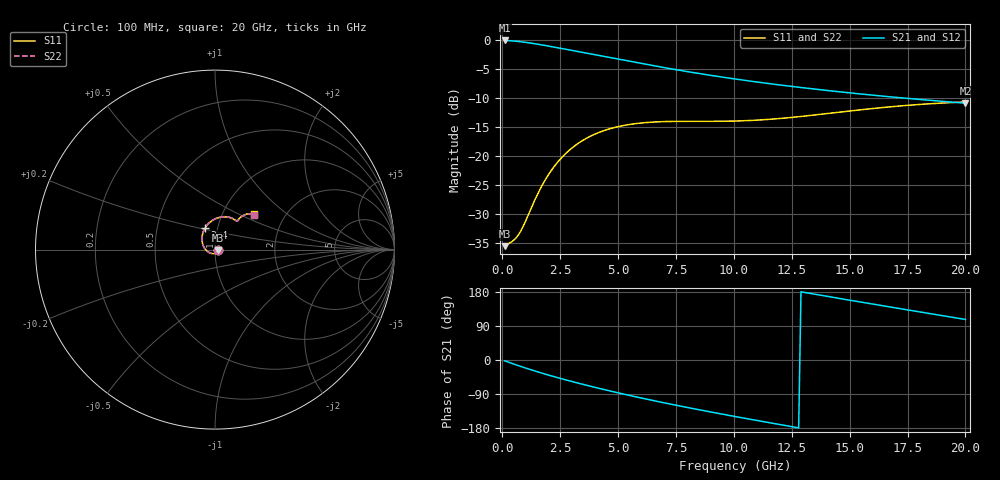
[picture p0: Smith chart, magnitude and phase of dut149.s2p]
! Touchstone file exported from HFSS 2023.1.0
!  File:  D:/Users/fzz/RDL_TSV/temp_RDL_TSV_149_1778752941.aedt
!  Generated:  6:12:56 %x4E0B%x5348  5%x6708 14, 2026
!  Design:  RDL_TSV
!  Project:  temp_RDL_TSV_149_1778752941
!  Setup:  Setup1
!  Solution:  Sweep
! Variables:
!  dtsv = 12.26um
!  hbump = 3um
!  htsv = 92.99um
!  ldown = 676.91um
!  lrdl = 369.45um
!  p = 40
!  p1 = 42.11um
!  rhole = 10um
!  subl = 3508.53um
!  t = 450um
!  tdown = 4.66um
!  trdl = 2.91um
!  viad = 10um
!  wdown = 23.5um
!  wrdl = 18.77um
!  xbump = 18um
# GHz S MA R 50.000000
! Terminal data exported
! Port[1] = TM1_1_T1
! Port[2] = TM1_4_T1
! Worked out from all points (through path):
!   200 points, 100 MHz to 20 GHz, reference 50 ohm
!   highest |S21| = -0.15 dB at 100 MHz (marker M1); lowest = -10.9 dB at 20 GHz (marker M2)
!   group delay of S21, straight-line fit = 33.4 ps
!   lowest |S11| = -35.5 dB at 100 MHz (marker M3), VSWR 1.03, Z = 51.7 - j0.3 ohm
!   |S11| at or under -10 dB: start of sweep to end of sweep
!   |S22| runs from -35.5 to -10.7 dB; largest |S21 - S12| = 1.7e-14
!   S11 on the Smith chart (normalised r, x): 100 MHz: 1.03, -0.01; 3.4 GHz: 0.87, +0.22; 20 GHz: 1.40, +0.60
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0.1  0.01687 -9.9  0.9826 -2.2  0.9826 -2.2  0.01687 -9.9
! Gamma 0 0 0 0
! Port Impedance 50 0 50 0
0.5  0.01903 -61.0  0.9714 -10.8  0.9714 -10.8  0.01901 -61.0
0.7  0.02112 -89.2  0.9628 -15.0  0.9628 -15.0  0.0211 -89.3
0.9  0.02491 -115.3  0.9525 -19.1  0.9525 -19.1  0.02491 -115.5
1.2  0.03397 -147.2  0.9345 -25.0  0.9345 -25.0  0.03401 -147.4
1.7  0.05513 176.5  0.9004 -34.5  0.9004 -34.5  0.05529 176.4
2.1  0.07447 156.4  0.8716 -41.6  0.8716 -41.6  0.07473 156.2
2.5  0.09396 140.5  0.8428 -48.5  0.8428 -48.5  0.09433 140.4
3.4  0.1334 114.0  0.7801 -63.0  0.7801 -63.0  0.134 113.9
3.5  0.1372 111.6  0.7734 -64.6  0.7734 -64.6  0.1379 111.5
4.2  0.1603 96.8  0.7278 -75.1  0.7278 -75.1  0.1611 96.7
4.9  0.177 85.1  0.6849 -85.3  0.6849 -85.3  0.178 85.0
5.8  0.1904 73.4  0.634 -97.6  0.634 -97.6  0.1916 73.3
6.8  0.1971 64.1  0.5833 -110.6  0.5833 -110.6  0.1985 63.9
8.4  0.1988 55.4  0.515 -130.1  0.515 -130.1  0.2003 55.1
10.1  0.2001 52.2  0.4575 -149.7  0.4575 -149.7  0.2014 51.8
11.7  0.2079 52.0  0.4145 -167.2  0.4145 -167.2  0.209 51.5
13.4  0.2243 51.9  0.3776 174.6  0.3776 174.6  0.225 51.5
15.1  0.245 50.7  0.3472 156.8  0.3472 156.8  0.2454 50.3
16.7  0.2642 48.4  0.3233 140.3  0.3233 140.3  0.2643 48.0
18.3  0.2799 45.5  0.3029 124.1  0.3029 124.1  0.2798 45.1
20  0.2915 42.2  0.2846 107.0  0.2846 107.0  0.2912 41.9
